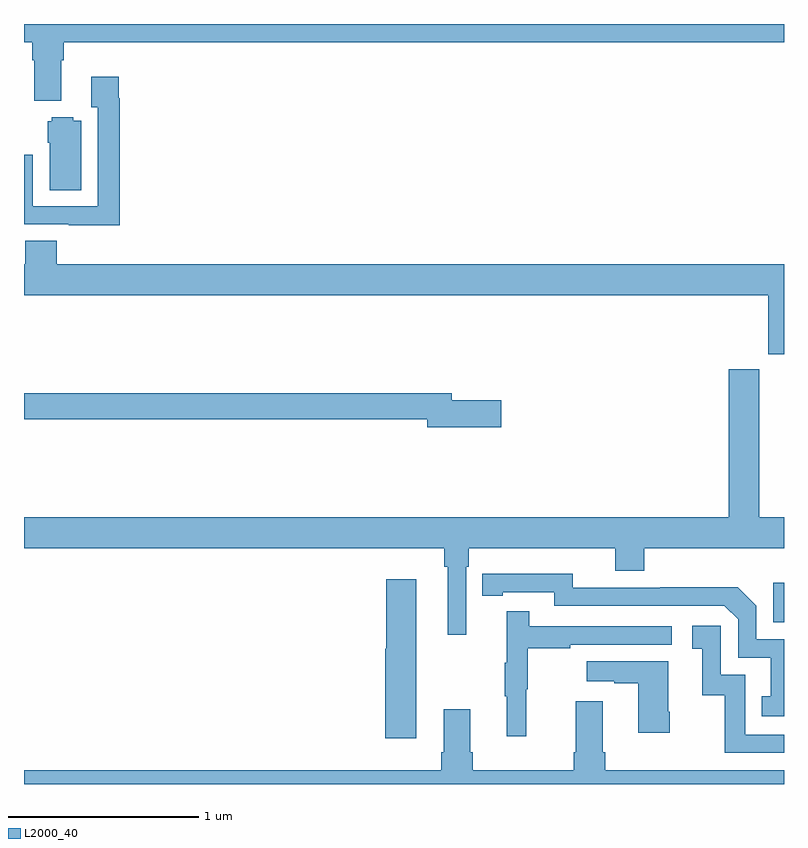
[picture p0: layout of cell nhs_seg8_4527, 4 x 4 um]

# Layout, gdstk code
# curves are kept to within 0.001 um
import gdstk
lib = gdstk.Library(unit=1e-6, precision=1e-09)
def R(c, l, rs):  # rectangles x0, y0, x1, y1
    for r in rs: c.add(gdstk.rectangle(r[:2], r[2:], *l))
def P(c, l, *ps):  # polygons
    for p in ps: c.add(gdstk.Polygon(p, *l))
L2000_40 = (2000, 40)

nhs_seg8_4527 = lib.new_cell('nhs_seg8_4527')
R(nhs_seg8_4527, L2000_40, [(388.944,1142.751,389,1142.959)])
P(nhs_seg8_4527, L2000_40, [(385.195,1145.708),(385.208,1145.708),(385.208,1145.804),(389,1145.804),(389,1145.9),(385,1145.9),(385,1145.804),(385.043,1145.804),(385.043,1145.708),(385.055,1145.708),(385.055,1145.495),(385.195,1145.495)],
  [(385.505,1145.51),(385.498,1145.51),(385.498,1145.623),(385.355,1145.623),(385.355,1145.462),(385.389,1145.462),(385.389,1144.941),(385.047,1144.941),(385.047,1145.212),(385,1145.212),(385,1144.845),(385.235,1144.845),(385.235,1144.841),(385.505,1144.841)],
  [(385.3,1145.392),(385.26,1145.392),(385.26,1145.41),(385.146,1145.41),(385.146,1145.388),(385.124,1145.388),(385.124,1145.274),(385.136,1145.274),(385.136,1145.026),(385.3,1145.026)],
  [(389,1144.636),(385.172,1144.636),(385.172,1144.76),(385.007,1144.76),(385.007,1144.636),(385,1144.636),(385,1144.472),(388.916,1144.472),(388.916,1144.163),(389,1144.163)],
  [(387.327,1143.044),(387.341,1143.044),(387.341,1143.14),(388.112,1143.14),(388.112,1143.023),(388.265,1143.023),(388.265,1143.14),(389,1143.14),(389,1143.304),(388.869,1143.304),(388.869,1144.084),(388.709,1144.084),(388.709,1143.304),(385,1143.304),(385,1143.14),(387.211,1143.14),(387.211,1143.044),(387.23,1143.044),(387.23,1142.685),(387.327,1142.685)],
  [(387.511,1143.92),(387.25,1143.92),(387.25,1143.956),(385,1143.956),(385,1143.82),(387.122,1143.82),(387.122,1143.778),(387.511,1143.778)],
  [(389,1142.661),(388.854,1142.661),(388.854,1142.838),(388.756,1142.936),(388.348,1142.936),(388.348,1142.934),(387.888,1142.934),(387.888,1143.007),(387.412,1143.006),(387.412,1142.89),(387.52,1142.89),(387.52,1142.91),(387.792,1142.91),(387.792,1142.838),(388.686,1142.838),(388.758,1142.766),(388.758,1142.565),(388.931,1142.565),(388.931,1142.361),(388.882,1142.361),(388.882,1142.256),(389,1142.256)],
  [(387.064,1142.977),(386.906,1142.977),(386.906,1142.613),(386.9,1142.613),(386.9,1142.142),(387.064,1142.142)],
  [(387.644,1142.4),(387.652,1142.4),(387.652,1142.614),(387.875,1142.614),(387.875,1142.634),(388.408,1142.634),(388.408,1142.73),(387.659,1142.73),(387.659,1142.809),(387.542,1142.809),(387.542,1142.537),(387.531,1142.537),(387.531,1142.363),(387.542,1142.363),(387.542,1142.151),(387.644,1142.151)],
  [(389,1142.16),(388.797,1142.16),(388.797,1142.475),(388.668,1142.475),(388.668,1142.734),(388.518,1142.734),(388.518,1142.613),(388.571,1142.613),(388.571,1142.367),(388.689,1142.367),(388.689,1142.064),(389,1142.064)],
  [(388.398,1142.281),(388.39,1142.281),(388.39,1142.545),(387.963,1142.545),(387.963,1142.441),(388.106,1142.441),(388.106,1142.431),(388.232,1142.431),(388.232,1142.169),(388.398,1142.169)],
  [(389,1141.972),(388.058,1141.972),(388.058,1142.068),(388.045,1142.068),(388.045,1142.335),(387.905,1142.335),(387.905,1142.068),(387.893,1142.068),(387.893,1141.972),(387.362,1141.972),(387.362,1142.068),(387.349,1142.068),(387.349,1142.293),(387.209,1142.293),(387.209,1142.068),(387.197,1142.068),(387.197,1141.972),(385,1141.972),(385,1141.9),(389,1141.9)])

lib.write_gds('nhs_seg8_4527.gds')
